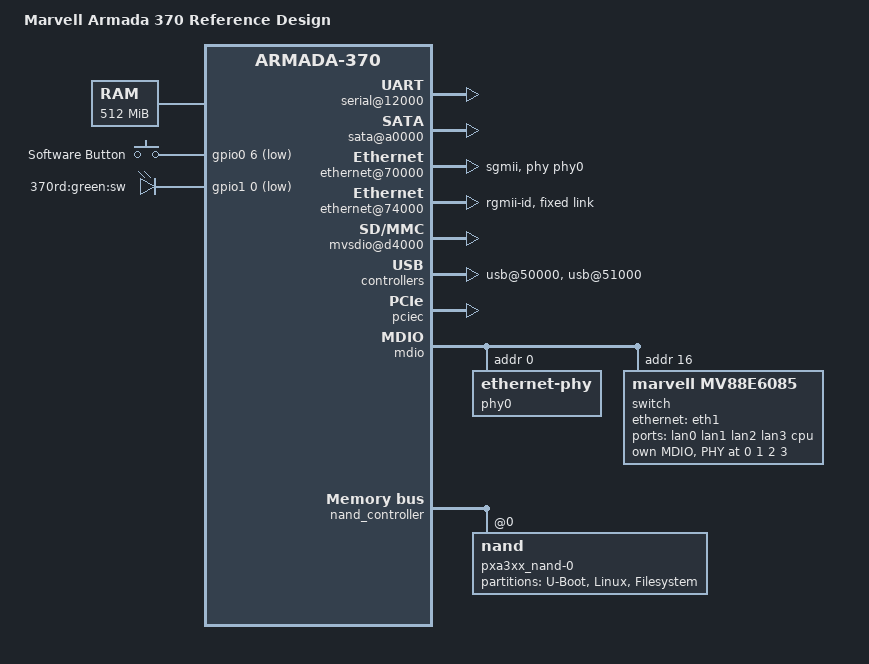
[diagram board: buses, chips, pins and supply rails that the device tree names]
// SPDX-License-Identifier: (GPL-2.0+ OR MIT)
/*
 * Device Tree file for Marvell Armada 370 Reference Design board
 * (RD-88F6710-A1)
 *
 *  Copied from arch/arm/boot/dts/armada-370-db.dts
 *
 *  Copyright (C) 2013 Florian Fainelli <florian@openwrt.org>
 *
 * Note: this Device Tree assumes that the bootloader has remapped the
 * internal registers to 0xf1000000 (instead of the default
 * 0xd0000000). The 0xf1000000 is the default used by the recent,
 * DT-capable, U-Boot bootloaders provided by Marvell. Some earlier
 * boards were delivered with an older version of the bootloader that
 * left internal registers mapped at 0xd0000000. If you are in this
 * situation, you should either update your bootloader (preferred
 * solution) or the below Device Tree should be adjusted.
 */

/dts-v1/;
#include <dt-bindings/input/input.h>
#include <dt-bindings/interrupt-controller/irq.h>
#include <dt-bindings/gpio/gpio.h>
#include "armada-370.dtsi"

/ {
	model = "Marvell Armada 370 Reference Design";
	compatible = "marvell,a370-rd", "marvell,armada370", "marvell,armada-370-xp";

	chosen {
		stdout-path = "serial0:115200n8";
	};

	memory@0 {
		device_type = "memory";
		reg = <0x00000000 0x20000000>; /* 512 MB */
	};

	soc {
		ranges = <MBUS_ID(0xf0, 0x01) 0 0xf1000000 0x100000
			  MBUS_ID(0x01, 0xe0) 0 0xfff00000 0x100000
			  MBUS_ID(0x09, 0x01) 0 0xf1100000 0x10000>;

		internal-regs {
			serial@12000 {
				status = "okay";
			};
			sata@a0000 {
				nr-ports = <2>;
				status = "okay";
			};

			ethernet@70000 {
				status = "okay";
				phy = <&phy0>;
				phy-mode = "sgmii";
			};
			ethernet@74000 {
				pinctrl-0 = <&ge1_rgmii_pins>;
				pinctrl-names = "default";
				status = "okay";
				phy-mode = "rgmii-id";
				fixed-link {
					speed = <1000>;
					full-duplex;
				};
			};

			mvsdio@d4000 {
				pinctrl-0 = <&sdio_pins1>;
				pinctrl-names = "default";
				status = "okay";
				/* No CD or WP GPIOs */
				broken-cd;
			};

			usb@50000 {
				status = "okay";
			};

			usb@51000 {
				status = "okay";
			};

			gpio-keys {
				compatible = "gpio-keys";
				button {
					label = "Software Button";
					linux,code = <KEY_POWER>;
					gpios = <&gpio0 6 GPIO_ACTIVE_LOW>;
				};
			};

			gpio-fan {
				compatible = "gpio-fan";
				gpios = <&gpio0 8 GPIO_ACTIVE_HIGH>;
				gpio-fan,speed-map = <0 0 3000 1>;
				pinctrl-0 = <&fan_pins>;
				pinctrl-names = "default";
			};

			gpio_leds {
				compatible = "gpio-leds";
				pinctrl-names = "default";
				pinctrl-0 = <&led_pins>;

				sw_led {
					label = "370rd:green:sw";
					gpios = <&gpio1 0 GPIO_ACTIVE_LOW>;
					default-state = "keep";
				};
			};
		};
	};
};

&pciec {
	status = "okay";

	/* Internal mini-PCIe connector */
	pcie@1,0 {
		/* Port 0, Lane 0 */
		status = "okay";
	};

	/* Internal mini-PCIe connector */
	pcie@2,0 {
		/* Port 1, Lane 0 */
		status = "okay";
	};
};

&mdio {
	pinctrl-0 = <&mdio_pins>;
	pinctrl-names = "default";
	phy0: ethernet-phy@0 {
		reg = <0>;
	};

	switch: switch@10 {
		compatible = "marvell,mv88e6085";
		#address-cells = <1>;
		#size-cells = <0>;
		reg = <0x10>;
		interrupt-controller;
		#interrupt-cells = <2>;

		ports {
			#address-cells = <1>;
			#size-cells = <0>;

			port@0 {
				reg = <0>;
				label = "lan0";
			};

			port@1 {
				reg = <1>;
				label = "lan1";
			};

			port@2 {
				reg = <2>;
				label = "lan2";
			};

			port@3 {
				reg = <3>;
				label = "lan3";
			};

			port@5 {
				reg = <5>;
				label = "cpu";
				ethernet = <&eth1>;
				fixed-link {
					speed = <1000>;
					full-duplex;
				};
			};
		};

		mdio {
			#address-cells = <1>;
			#size-cells = <0>;

			switchphy0: switchphy@0 {
				reg = <0>;
				interrupt-parent = <&switch>;
				interrupts = <0 IRQ_TYPE_LEVEL_HIGH>;
			};

			switchphy1: switchphy@1 {
				reg = <1>;
				interrupt-parent = <&switch>;
				interrupts = <1 IRQ_TYPE_LEVEL_HIGH>;
			};

			switchphy2: switchphy@2 {
				reg = <2>;
				interrupt-parent = <&switch>;
				interrupts = <2 IRQ_TYPE_LEVEL_HIGH>;
			};

			switchphy3: switchphy@3 {
				reg = <3>;
				interrupt-parent = <&switch>;
				interrupts = <3 IRQ_TYPE_LEVEL_HIGH>;
			};
		};
	};
};


&pinctrl {
	fan_pins: fan-pins {
		marvell,pins = "mpp8";
		marvell,function = "gpio";
	};

	led_pins: led-pins {
		marvell,pins = "mpp32";
		marvell,function = "gpio";
	};
};

&nand_controller {
	status = "okay";

	nand@0 {
		reg = <0>;
		label = "pxa3xx_nand-0";
		nand-rb = <0>;
		marvell,nand-keep-config;
		nand-on-flash-bbt;

		partitions {
			compatible = "fixed-partitions";
			#address-cells = <1>;
			#size-cells = <1>;

			partition@0 {
				label = "U-Boot";
				reg = <0 0x800000>;
			};
			partition@800000 {
				label = "Linux";
				reg = <0x800000 0x800000>;
			};
			partition@1000000 {
				label = "Filesystem";
				reg = <0x1000000 0x3f000000>;
			};
		};
	};
};
